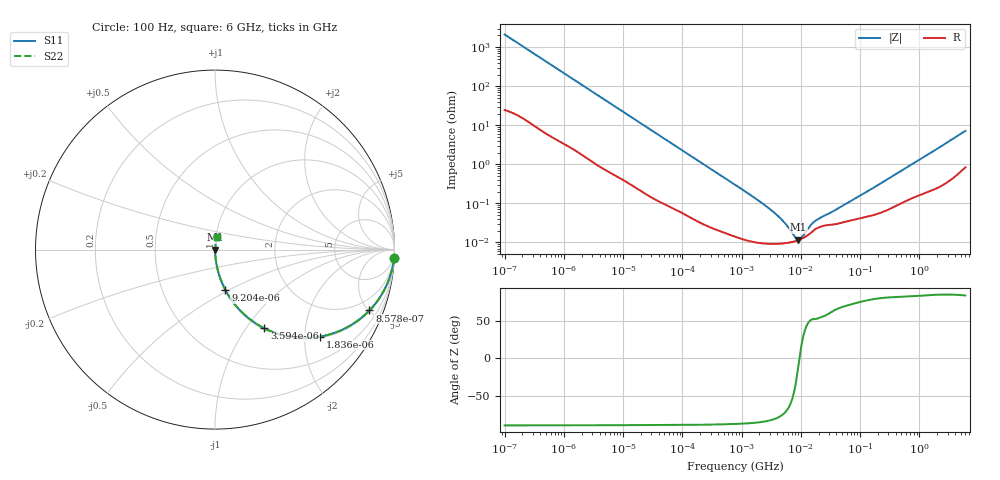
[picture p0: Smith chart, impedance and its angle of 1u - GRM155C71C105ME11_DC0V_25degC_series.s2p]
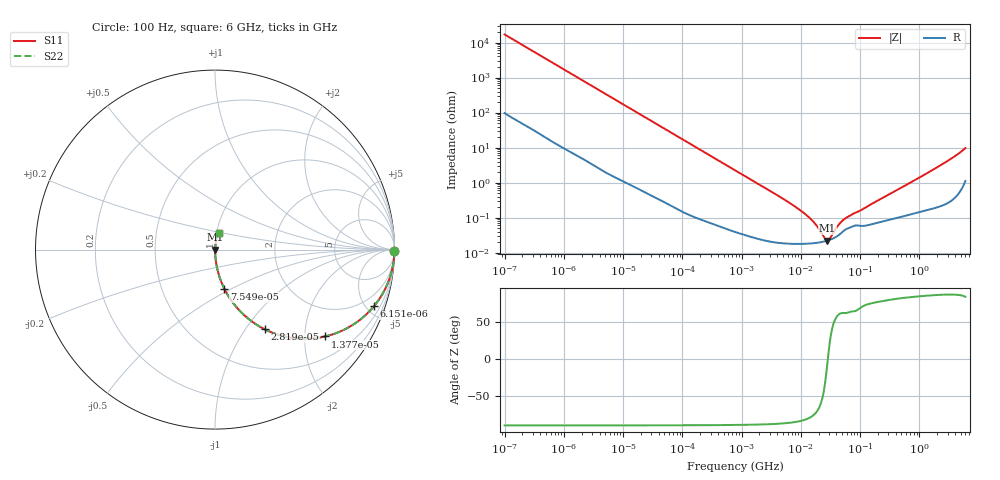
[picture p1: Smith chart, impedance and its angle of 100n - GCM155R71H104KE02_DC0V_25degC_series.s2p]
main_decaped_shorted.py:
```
# main_compare_all_in_one.py
# One figure with 6 curves:
#   PowerSI OPEN, Python OPEN, PowerSI SHORTED, Python SHORTED, PowerSI DECAP, Python DECAP
# Band: 10 kHz – 200 MHz (log). Plots only.

import re
import numpy as np
import matplotlib.pyplot as plt
import pathlib
import skrf as rf
from copy import deepcopy

from BEM_AC_NVM_PDN import PDN, short_1port, connect_1decap
from input_AH import input_path, stackup_path, touchstone_path
from pdn_io.spd_parser import parse_spd
from pdn_io.stackup_parser import read_stackup
from pdn_analysis.ztool import short_ports_reduce_z
from pdn_analysis.plotting import plot_z_matrix

# ----------------- Config -----------------
FSTART, FSTOP, NPOINTS = 10e3, 200e6, 201
DECAP_FILES = {
    1: pathlib.Path(r"capacitors\1u - GRM155C71C105ME11_DC0V_25degC_series.s2p"),
    2: pathlib.Path(r"capacitors\100n - GCM155R71H104KE02_DC0V_25degC_series.s2p"),
}

# ---------------- Utilities ----------------
def gen_brd_data(brd, spd_path: str, stackup_path: str, d: float = 1e-3):
    parse_spd(brd, spd_path,
              ground_net="gnd", power_net="pwr",
              ic_port_tag="ic_port", decap_port_tag="decap_port",
              verbose=True)
    brd.sxy = np.concatenate([brd.seg_bd_node(single_bxy, d) for single_bxy in brd.bxy], axis=0)
    brd.sxy_index_ranges = []
    offset = 0
    for b in brd.bxy:
        n_seg = brd.seg_bd_node(b, d).shape[0]
        brd.sxy_index_ranges.append((offset, offset + n_seg))
        offset += n_seg
    brd.sxy_list = [brd.seg_bd_node(b, d) for b in brd.bxy]
    die_t, er_list, d_r = read_stackup(stackup_path)
    brd.er_list, brd.die_t, brd.d_r = er_list, die_t, d_r
    z = brd.calc_z_fast(res_matrix=None, verbose=True)   # (nf, 3, 3)
    return z

def detect_ic_port_index(snp_path: str) -> int:
    idx = None
    for ln in pathlib.Path(snp_path).read_text(encoding="utf-8", errors="ignore").splitlines():
        m = re.match(r"!\s*Port(\d+).*ic_port", ln, flags=re.IGNORECASE)
        if m:
            idx = int(m.group(1)) - 1
            break
    return idx if idx is not None else 0

def cap_to_shunt_z11(cap_file: pathlib.Path, freq: rf.Frequency) -> np.ndarray:
    cap2p = rf.Network(str(cap_file)).interpolate(freq)
    cap1p, _ = short_1port(cap2p, shorted_port=1)   # series 2-port -> shunt 1-port
    return cap1p.z                                  # (nf,1,1)

def connect_two_decaps(Z3p: np.ndarray, Zcap1: np.ndarray, Zcap2: np.ndarray) -> np.ndarray:
    Zcur = deepcopy(Z3p)
    port_map = [0, 1, 2]
    i1 = port_map.index(1)
    Zcur, port_map = connect_1decap(Zcur, port_map, i1, Zcap1)
    i2 = port_map.index(2)
    Zcur, port_map = connect_1decap(Zcur, port_map, i2, Zcap2)
    assert len(port_map) == 1 and port_map[0] == 0
    return Zcur  # (nf,1,1)

# ---------------- Main ----------------
if __name__ == "__main__":

    # Frequency grid
    freq = np.logspace(np.log10(FSTART), np.log10(FSTOP), NPOINTS)
    Freq = rf.Frequency(start=FSTART/1e6, stop=FSTOP/1e6, npoints=NPOINTS, unit='mhz', sweep_type='log')

    # Touchstone (PowerSI) on this grid
    ntw = rf.Network(touchstone_path).interpolate(Freq)
    Z_ts = ntw.z  # (nf,3,3)

    # Python 3-port Z on same grid
    brd = PDN()
    brd.fstart, brd.fstop, brd.nf = FSTART, FSTOP, NPOINTS
    brd.freq = Freq
    Z_py = gen_brd_data(brd=brd, spd_path=input_path, stackup_path=stackup_path)  # (nf,3,3)

    # IC index and ports to short
    ic_idx = detect_ic_port_index(touchstone_path)
    n_ports = Z_py.shape[1]
    ports_to_short = [p for p in range(n_ports) if p != ic_idx]

    # SHORTED reductions
    Z_ts_short, _ = short_ports_reduce_z(Z_ts, ports_to_short)  # (nf,1,1)
    Z_py_short, _ = short_ports_reduce_z(Z_py, ports_to_short)  # (nf,1,1)

    # DECAP reductions (two real caps)
    for p in (1, 2):
        if not DECAP_FILES[p].exists():
            raise FileNotFoundError(f"Capacitor file for port {p} not found: {DECAP_FILES[p]}")
    Zcap1 = cap_to_shunt_z11(DECAP_FILES[1], ntw.frequency)
    Zcap2 = cap_to_shunt_z11(DECAP_FILES[2], ntw.frequency)
    Z_ts_decap = connect_two_decaps(Z_ts, Zcap1, Zcap2)        # (nf,1,1)
    Z_py_decap = connect_two_decaps(Z_py, Zcap1, Zcap2)        # (nf,1,1)

    # --------- Single Figure: 6 curves ---------
    fig, ax = plot_z_matrix(
        freq=freq, z_matrix=Z_ts, indices=(ic_idx, ic_idx),
        legend=["PowerSI Z11 (OPEN)"],
        scale=("log", "log"),
        xlabel="Frequency (Hz)", ylabel="|Z| (Ω)",
        title="IC |Z11| — OPEN vs SHORTED vs DECAP (PowerSI & Python) — 10 kHz–200 MHz",
        color="tab:orange", linestyle="-", linewidth=2,
    )
    _ = plot_z_matrix(freq=freq, z_matrix=Z_py, indices=(ic_idx, ic_idx),
                      legend=["Python Z11 (OPEN)"],
                      color="tab:green", linestyle="-.", linewidth=2, ax=ax)
    _ = plot_z_matrix(freq=freq, z_matrix=Z_ts_short, indices=(0, 0),
                      legend=["PowerSI Z11 (SHORTED)"],
                      color="tab:cyan", linestyle="-", linewidth=2, ax=ax)
    _ = plot_z_matrix(freq=freq, z_matrix=Z_py_short, indices=(0, 0),
                      legend=["Python Z11 (SHORTED)"],
                      color="purple", linestyle="--", linewidth=2, ax=ax)
    _ = plot_z_matrix(freq=freq, z_matrix=Z_ts_decap, indices=(0, 0),
                      legend=[f"PowerSI Z11 (DECAP: {DECAP_FILES[1].name.split(' - ')[0]}, {DECAP_FILES[2].name.split(' - ')[0]})"],
                      color="tab:blue", linestyle="-", linewidth=2, ax=ax)
    _ = plot_z_matrix(freq=freq, z_matrix=Z_py_decap, indices=(0, 0),
                      legend=[f"Python Z11 (DECAP: {DECAP_FILES[1].name.split(' - ')[0]}, {DECAP_FILES[2].name.split(' - ')[0]})"],
                      color="tab:red", linestyle="--", linewidth=2, ax=ax)

    # small caption
    cap_note = f"Decaps used: {DECAP_FILES[1].name} (port 1), {DECAP_FILES[2].name} (port 2)"
    fig.text(0.5, 0.03, cap_note, ha="center", va="bottom", fontsize=11)
    cap_note = f"Board: {pathlib.Path(stackup_path).parent.name}"
    fig.text(0.5, 0.01, cap_note, ha="center", va="bottom", fontsize=9)
    plt.show()
```
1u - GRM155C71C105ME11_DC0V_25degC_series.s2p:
!Murata Part Number: GRM155C71C105ME11
!These Parameters are Measured in Series Mode Connection
!  o--ll--o
!Port1  Port2
!  o------o
!Operation Temp=25[degC], DC Bias Voltage=0[V]
!Freq. Start=100[Hz] Stop=6[GHz], 401[Steps]
!Data Generated on Oct 1, 2021
# Hz S RI R 50
!Freq.(Hz) S11(Real) S11(Imag) S21(Real) S21(Imag) S12(Real) S12(Imag) S22(Real) S22(Imag)
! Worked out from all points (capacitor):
!   401 points, 100 Hz to 6 GHz, reference 50 ohm
!   read as one part in series: C = 749 nF near 109.4 Hz
!   lowest |Z| = 11.7 mohm at 9.09 MHz (marker M1)
!   series resonance near 9.496 MHz, so ESL is about 380 pH
!   S11 on the Smith chart (normalised r, x): 100 Hz: 1, -42; 857.8 Hz: 1.08, -5.05; 1.836 kHz: 1.04, -2.38; 3.594 kHz: 1.02, -1.22; 9.204 kHz: 1.01, -0.48; 6 GHz: 1.02, +0.14
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100  0.9972 -0.047  0.00277 0.047  0.00277 0.047  0.9972 -0.047
857.7844  0.8605 -0.3389  0.1395 0.3389  0.1395 0.3389  0.8605 -0.3389
1836.325  0.5842 -0.4848  0.4158 0.4848  0.4158 0.4848  0.5842 -0.4848
3594.432  0.2752 -0.4387  0.7248 0.4387  0.7248 0.4387  0.2752 -0.4387
9204.139  0.0585 -0.2259  0.9415 0.2259  0.9415 0.2259  0.0585 -0.2259
44113.49  0.00365 -0.0509  0.9964 0.0509  0.9964 0.0509  0.00365 -0.0509
774596.7  0.00015 -0.00301  0.9999 0.00301  0.9999 0.00301  0.00015 -0.00301
3549919  9.21e-05 -0.000576  0.9999 0.000576  0.9999 0.000576  9.21e-05 -0.000576
9090158  0.000115 -2.16e-05  0.9999 2.16e-05  0.9999 2.16e-05  0.000115 -2.16e-05
1.86079e7  0.000231 0.000301  0.9998 -0.000301  0.9998 -0.000301  0.000231 0.000301
6e9  0.0133 0.0701  0.9867 -0.0701  0.9867 -0.0701  0.0133 0.0701
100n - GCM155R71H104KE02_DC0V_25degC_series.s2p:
!Murata Part Number: GCM155R71H104KE02
!These Parameters are Measured in Series Mode Connection
!  o--ll--o
!Port1  Port2
!  o------o
!Operation Temp=25[degC], DC Bias Voltage=0[V]
!Freq. Start=100[Hz] Stop=6[GHz], 401[Steps]
!Data Generated on Feb 4, 2025
# Hz S RI R 50
!Freq.(Hz) S11(Real) S11(Imag) S21(Real) S21(Imag) S12(Real) S12(Imag) S22(Real) S22(Imag)
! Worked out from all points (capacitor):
!   401 points, 100 Hz to 6 GHz, reference 50 ohm
!   read as one part in series: C = 93.4 nF near 109.4 Hz
!   lowest |Z| = 22.1 mohm at 27.84 MHz (marker M1)
!   series resonance near 28.59 MHz, so ESL is about 330 pH
!   S11 on the Smith chart (normalised r, x): 100 Hz: open; 6.151 kHz: 1.03, -5.61; 13.77 kHz: 1.02, -2.51; 28.19 kHz: 1.01, -1.23; 75.49 kHz: 1.00, -0.46; 6 GHz: 1.02, +0.19
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100  0.9999 -0.00587  6.78e-05 0.00587  6.78e-05 0.00587  0.9999 -0.00587
1342.245  0.9935 -0.0776  0.00651 0.0776  0.00651 0.0776  0.9935 -0.0776
6151.412  0.886 -0.315  0.114 0.315  0.114 0.315  0.886 -0.315
13771.83  0.6119 -0.484  0.3881 0.484  0.3881 0.484  0.6119 -0.484
28191.46  0.2767 -0.4437  0.7233 0.4437  0.7233 0.4437  0.2767 -0.4437
75494.61  0.0523 -0.2187  0.9477 0.2187  0.9477 0.2187  0.0523 -0.2187
774596.7  0.000909 -0.0228  0.9991 0.0228  0.9991 0.0228  0.000909 -0.0228
1.039699e7  0.00018 -0.00149  0.9998 0.00149  0.9998 0.00149  0.00018 -0.00149
2.784235e7  0.000219 -3.31e-05  0.9998 3.31e-05  0.9998 3.31e-05  0.000219 -3.31e-05
5.699437e7  0.00046 0.000846  0.9995 -0.000846  0.9995 -0.000846  0.00046 0.000846
6e9  0.0199 0.0935  0.9801 -0.0935  0.9801 -0.0935  0.0199 0.0935
